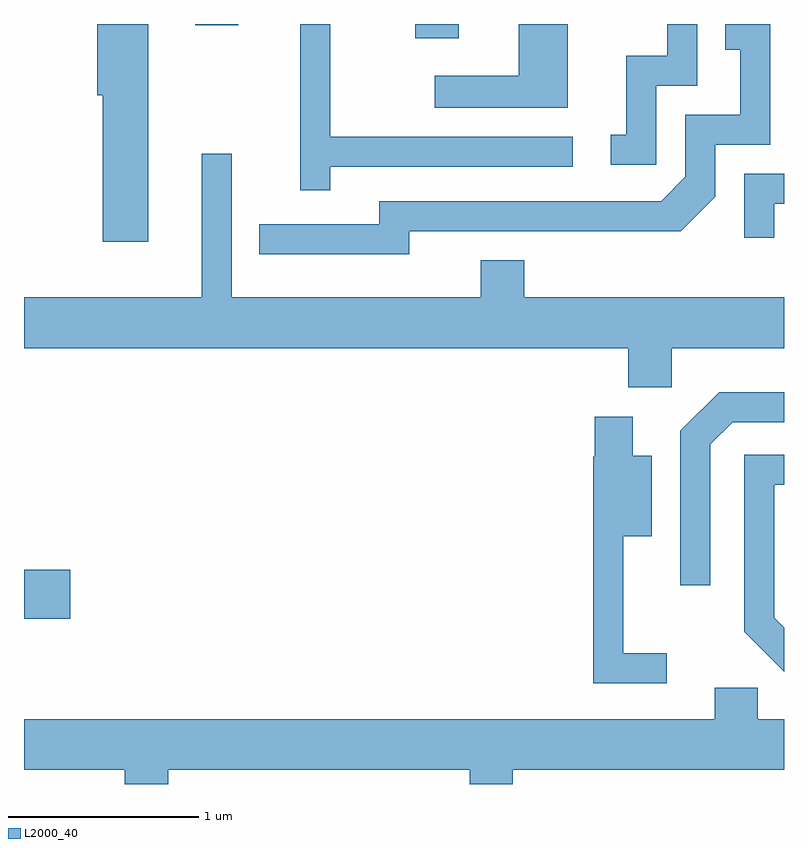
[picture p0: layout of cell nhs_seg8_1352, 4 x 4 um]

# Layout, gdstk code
import gdstk
lib = gdstk.Library(unit=1e-6, precision=1e-09)
def R(c, l, rs):  # rectangles x0, y0, x1, y1
    for r in rs: c.add(gdstk.rectangle(r[:2], r[2:], *l))
def P(c, l, *ps):  # polygons
    for p in ps: c.add(gdstk.Polygon(p, *l))
L2000_40 = (2000, 40)

nhs_seg8_1352 = lib.new_cell('nhs_seg8_1352')
R(nhs_seg8_1352, L2000_40, [(225.611,1837.211,225.854,1837.469), (227.671,1840.266,227.899,1840.342), (226.511,1840.336,226.739,1840.342)])
P(nhs_seg8_1352, L2000_40, [(226.264,1840.342),(225.996,1840.342),(225.996,1839.966),(226.026,1839.966),(226.026,1839.196),(226.264,1839.196)],
  [(228.939,1840.016),(229.154,1840.016),(229.154,1840.342),(228.996,1840.342),(228.996,1840.174),(228.781,1840.174),(228.781,1839.759),(228.698,1839.759),(228.698,1839.601),(228.939,1839.601)],
  [(227.639,1839.251),(229.067,1839.251),(229.249,1839.434),(229.249,1839.706),(229.539,1839.706),(229.539,1840.342),(229.303,1840.342),(229.303,1840.206),(229.381,1840.206),(229.381,1839.864),(229.091,1839.864),(229.091,1839.537),(228.964,1839.409),(227.481,1839.409),(227.481,1839.289),(226.848,1839.289),(226.848,1839.131),(227.639,1839.131)],
  [(228.474,1840.342),(228.216,1840.342),(228.216,1840.069),(227.773,1840.069),(227.773,1839.901),(228.474,1839.901)],
  [(227.224,1839.591),(228.498,1839.591),(228.498,1839.749),(227.224,1839.749),(227.224,1840.342),(227.066,1840.342),(227.066,1839.468),(227.224,1839.468)],
  [(229.019,1838.636),(229.611,1838.636),(229.611,1838.904),(228.244,1838.904),(228.244,1839.099),(228.016,1839.099),(228.016,1838.904),(226.704,1838.904),(226.704,1839.658),(226.546,1839.658),(226.546,1838.904),(225.611,1838.904),(225.611,1838.636),(228.791,1838.636),(228.791,1838.431),(229.019,1838.431)],
  [(229.559,1839.396),(229.611,1839.396),(229.611,1839.554),(229.401,1839.554),(229.401,1839.218),(229.559,1839.218)],
  [(229.224,1838.129),(229.342,1838.246),(229.611,1838.246),(229.611,1838.404),(229.269,1838.404),(229.066,1838.202),(229.066,1837.388),(229.224,1837.388)],
  [(228.993,1837.029),(228.764,1837.029),(228.764,1837.646),(228.914,1837.646),(228.914,1838.069),(228.814,1838.069),(228.814,1838.274),(228.616,1838.274),(228.616,1838.065),(228.606,1838.065),(228.606,1836.871),(228.993,1836.871)],
  [(229.611,1837.165),(229.559,1837.217),(229.559,1837.916),(229.611,1837.916),(229.611,1838.074),(229.401,1838.074),(229.401,1837.144),(229.611,1836.934)],
  [(226.369,1836.416),(227.956,1836.416),(227.956,1836.342),(228.184,1836.342),(228.184,1836.416),(229.611,1836.416),(229.611,1836.684),(229.474,1836.684),(229.474,1836.849),(229.246,1836.849),(229.246,1836.684),(225.611,1836.684),(225.611,1836.416),(226.141,1836.416),(226.141,1836.342),(226.369,1836.342)])

lib.write_gds('nhs_seg8_1352.gds')
